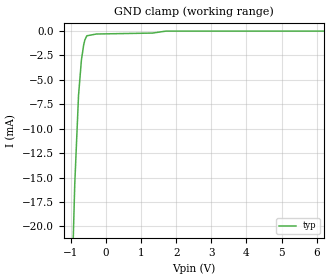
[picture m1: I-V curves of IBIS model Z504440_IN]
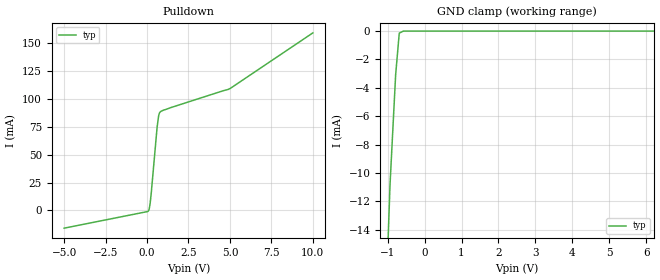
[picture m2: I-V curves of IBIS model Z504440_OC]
| YOU ARE ONLY AUTHORIZED TO USE THIS SOFTWARE
| ACCORDING TO LICENSOR'S LICENSE RESTRICTIONS.
[IBIS Ver] 3.1
[File Name] sn54ls33j.ibs
[File Rev] 2.0
[Source] Measured and created by ICX Technology
[Date] Friday 7/14/00 9:08:14 AM
[Copyright]
| (C) COPYRIGHT 1993-2000
| MENTOR GRAPHICS CORPORATION
| ICX STANDARD LIBRARY, ICX PROJECT MODELING,
| ICX CUSTOM MODELING, ICX VENDOR MODEL
| ALL RIGHTS RESERVED.
| THE FOLLOWING ARE TRADEMARKS OR SERVICE MARKS OF
| MENTOR GRAPHICS CORPORATION:ICX (R), ICX STANDARD
| LIBRARY(R), ICX PROJECT MODELING(R), ICX CUSTOM
| MODELING(R), qualityIBIS(TM), MODELVIEWER(TM),
| AND MODELEDITOR(TM)
| ALL COPIES OF SOFTWARE, INCLUDING BUT NOT LIMITED TO
| ANY MODIFICATIONS, ENHANCEMENTS OR DERIVATIVE WORKS,
| MUST CONTAIN ALL MENTOR GRAPHICS CORPORATION'S
| NOTICES AND LEGENDS, INCLUDING THOSE EMBEDDED IN
| SOFTWARE AND THOSE AFFIXED TO SOFTWARE MEDIUM
| AND CONTAINER, AS RECEIVED FROM MENTOR GRAPHICS
| CORPORATION.
|  ZAP Model Builder 2.7
[Component] SN54LS33J
[Manufacturer] OnSemiconductor
[Package]
| variable   typ   min   max
R_pkg  .21ohms NA NA
L_pkg  4.543nH NA NA
C_pkg  1.8pF NA NA
[Pin] signal_name  model_name  R_pin  L_pin C_pin
1 Y Z504440_OC .22 6.757n 2.434p
2 A Z504440_IN .212 4.757n 1.941p
3 B Z504440_IN .204 3.257n 1.448p
4 Y Z504440_OC .196 2.257n .955p
5 A Z504440_IN .204 3.257n 1.448p
6 B Z504440_IN .212 4.757n 1.941p
7 GND GND .22 6.757n 2.434p
8 A Z504440_IN .22 6.757n 2.434p
9 B Z504440_IN .212 4.757n 1.941p
10 Y Z504440_OC .204 3.257n 1.448p
11 A Z504440_IN .196 2.257n .955p
12 B Z504440_IN .204 3.257n 1.448p
13 Y Z504440_OC .212 4.757n 1.941p
14 VCC POWER .22 6.757n 2.434p
| Models and submodels in the file (2): Z504440_IN (Input), Z504440_OC (Open_sink)
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| (C) COPYRIGHT 1993-2000
| MENTOR GRAPHICS CORPORATION
| ICX STANDARD LIBRARY, ICX PROJECT MODELING,
| ICX CUSTOM MODELING, ICX VENDOR MODEL
| ALL RIGHTS RESERVED.
| THE FOLLOWING ARE TRADEMARKS OR SERVICE MARKS OF
| MENTOR GRAPHICS CORPORATION:ICX (R), ICX STANDARD
| LIBRARY(R), ICX PROJECT MODELING(R), ICX CUSTOM
| MODELING(R), qualityIBIS(TM), MODELVIEWER(TM),
| AND MODELEDITOR(TM)
| ALL COPIES OF SOFTWARE, INCLUDING BUT NOT LIMITED TO
| ANY MODIFICATIONS, ENHANCEMENTS OR DERIVATIVE WORKS,
| MUST CONTAIN ALL MENTOR GRAPHICS CORPORATION'S
| NOTICES AND LEGENDS, INCLUDING THOSE EMBEDDED IN
| SOFTWARE AND THOSE AFFIXED TO SOFTWARE MEDIUM
| AND CONTAINER, AS RECEIVED FROM MENTOR GRAPHICS
| CORPORATION.
| Model Application Version 1.89 2/18/99.
[Model] Z504440_IN
Model_type Input
Vinl = 800.0mV
Vinh = 2.000V
C_comp 4.000pF NA NA
| variable typ   min   max
[Voltage Range] 5.000V NA NA
[GND Clamp Reference] 0.000V NA NA
[POWER Clamp Reference] 5.000V NA NA
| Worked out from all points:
|   GND clamp passes 1 mA (typ) near -0.61 V on its own axis
[GND Clamp]
-5V       -552.3mA   NA         NA
-888.7mV  -15.66mA   NA         NA
-781.3mV  -6.593mA   NA         NA
-699mV    -2.948mA   NA         NA
-633.1mV  -1.388mA   NA         NA
-600.5mV  -907.9uA   NA         NA
-546.4mV  -487uA     NA         NA
-273.2mV  -301.9uA   NA         NA
1.328V    -206.7uA   NA         NA
1.704V    -6.571uA   NA         NA
10V       -3.437uA   NA         NA
[POWER Clamp]
-5V       0A         NA         NA
10V       0A         NA         NA
| (C) COPYRIGHT 1993-2000
| MENTOR GRAPHICS CORPORATION
| ICX STANDARD LIBRARY, ICX PROJECT MODELING,
| ICX CUSTOM MODELING, ICX VENDOR MODEL
| ALL RIGHTS RESERVED.
| THE FOLLOWING ARE TRADEMARKS OR SERVICE MARKS OF
| MENTOR GRAPHICS CORPORATION:ICX (R), ICX STANDARD
| LIBRARY(R), ICX PROJECT MODELING(R), ICX CUSTOM
| MODELING(R), qualityIBIS(TM), MODELVIEWER(TM),
| AND MODELEDITOR(TM)
| ALL COPIES OF SOFTWARE, INCLUDING BUT NOT LIMITED TO
| ANY MODIFICATIONS, ENHANCEMENTS OR DERIVATIVE WORKS,
| MUST CONTAIN ALL MENTOR GRAPHICS CORPORATION'S
| NOTICES AND LEGENDS, INCLUDING THOSE EMBEDDED IN
| SOFTWARE AND THOSE AFFIXED TO SOFTWARE MEDIUM
| AND CONTAINER, AS RECEIVED FROM MENTOR GRAPHICS
| CORPORATION.
| Model Application Version 1.89 2/18/99.
[Model] Z504440_OC
Model_type Open_sink
Vref=5.000V
Rref=2.001kohms
Cref=15.00pF
Vmeas=1.300V
C_comp 8.000pF NA NA
| variable typ   min   max
[Voltage Range] 5.000V NA NA
[POWER Clamp Reference] 5.000V NA NA
[Pullup Reference] 5.000V NA NA
[Pulldown Reference] 0.000V NA NA
[GND Clamp Reference] 0.000V NA NA
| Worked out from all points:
|   slope of the pulldown table from 0 to 0.75 V, typ, clamps not added: 8.48 ohm
|   GND clamp passes 1 mA (typ) near -0.71 V on its own axis
[GND Clamp]
-5V       -422.3mA   NA         NA
-1.118V   -24.46mA   NA         NA
-932.6mV  -10.78mA   NA         NA
-781.3mV  -3.081mA   NA         NA
-683.4mV  -141.5uA   NA         NA
-569.5mV  0A         NA         NA
10V       0A         NA         NA
[Pulldown]
-5V       -15.92mA   NA         NA
48.83mV   -972uA     NA         NA
131.2mV   1.254mA    NA         NA
184.4mV   5.987mA    NA         NA
252.3mV   15.29mA    NA         NA
605.5mV   74.42mA    NA         NA
695.8mV   84.59mA    NA         NA
732.5mV   86.79mA    NA         NA
771.4mV   88mA       NA         NA
1.445V    92.32mA    NA         NA
4.992V    109.2mA    NA         NA
10V       159.3mA    NA         NA
[POWER Clamp]
-5V       0A         NA         NA
10V       0A         NA         NA
[Ramp]
| variable typ min max
dV/dt_r 2.836/23.35n NA NA
dV/dt_f 2.836/5.521n NA NA
R_load = 250.0Ohms
